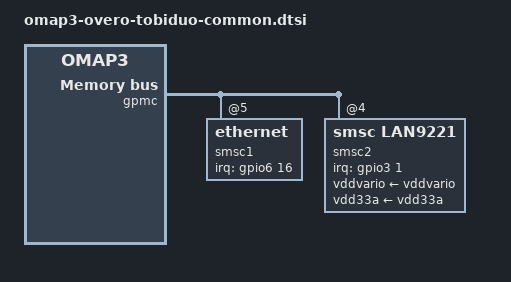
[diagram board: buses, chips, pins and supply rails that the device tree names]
// SPDX-License-Identifier: GPL-2.0-only
/*
 * Copyright (C) 2015 Ash Charles, Gumstix, Inc.
 */

/*
 * TobiDuo expansion board is manufactured by Gumstix Inc.
 */

#include "omap3-overo-common-peripherals.dtsi"

#include "omap-gpmc-smsc9221.dtsi"

&gpmc {
	smsc1: ethernet@gpmc {
		reg = <5 0 0xff>;
		interrupt-parent = <&gpio6>;
		interrupts = <16 IRQ_TYPE_LEVEL_LOW>;	/* GPIO 176 */
	};

	smsc2: ethernet@4,0 {
		compatible = "smsc,lan9221","smsc,lan9115";
		bank-width = <2>;

		gpmc,mux-add-data;
		gpmc,cs-on-ns = <0>;
		gpmc,cs-rd-off-ns = <42>;
		gpmc,cs-wr-off-ns = <36>;
		gpmc,adv-on-ns = <6>;
		gpmc,adv-rd-off-ns = <12>;
		gpmc,adv-wr-off-ns = <12>;
		gpmc,oe-on-ns = <0>;
		gpmc,oe-off-ns = <42>;
		gpmc,we-on-ns = <0>;
		gpmc,we-off-ns = <36>;
		gpmc,rd-cycle-ns = <60>;
		gpmc,wr-cycle-ns = <54>;
		gpmc,access-ns = <36>;
		gpmc,page-burst-access-ns = <0>;
		gpmc,bus-turnaround-ns = <0>;
		gpmc,cycle2cycle-delay-ns = <0>;
		gpmc,wr-data-mux-bus-ns = <18>;
		gpmc,wr-access-ns = <42>;
		gpmc,cycle2cycle-samecsen;
		gpmc,cycle2cycle-diffcsen;
		vddvario-supply = <&vddvario>;
		vdd33a-supply = <&vdd33a>;
		reg-io-width = <4>;
		smsc,save-mac-address;

		reg = <4 0 0xff>;
		interrupt-parent = <&gpio3>;
		interrupts = <1 IRQ_TYPE_LEVEL_LOW>;	/* GPIO 65 */
	};
};

&lis33de {
	status = "disabled";
};
